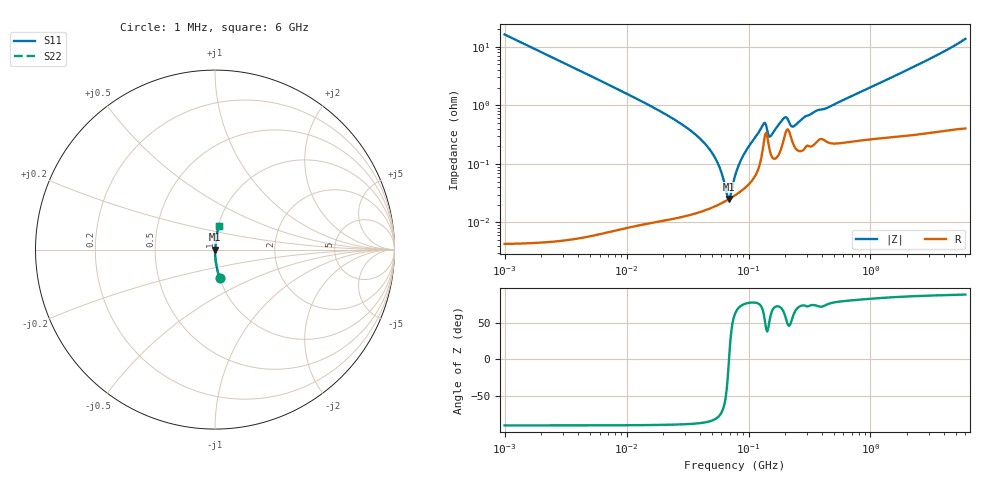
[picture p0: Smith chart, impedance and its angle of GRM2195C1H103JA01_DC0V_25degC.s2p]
!Murata Part Number: GRM2195C1H103JA01
!These Parameters are Measured in Series Mode Connection
!  o--ll--o
!Port1  Port2
!  o------o
!Operation Temp=25[degC], DC Bias Voltage=0[V]
!Freq. Start=1[MHz] Stop=6[GHz], 401[Steps]
!Data Generated on Jan 10, 2017
# Hz S RI R 50
!Freq.(Hz) S11(Real) S11(Imag) S21(Real) S21(Imag) S12(Real) S12(Imag) S22(Real) S22(Imag)
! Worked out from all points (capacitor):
!   401 points, 1 MHz to 6 GHz, reference 50 ohm
!   read as one part in series: C = 9.85 nF near 1.044 MHz
!   lowest |Z| = 25.2 mohm at 69.48 MHz (marker M1)
!   series resonance near 69.18 MHz, so ESL is about 540 pH
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1000000  0.0255 -0.1575  0.9745 0.1575  0.9745 0.1575  0.0255 -0.1575
4293785  0.00146 -0.0374  0.9985 0.0374  0.9985 0.0374  0.00146 -0.0374
1.843659e7  0.00017 -0.00813  0.9998 0.00813  0.9998 0.00813  0.00017 -0.00813
3.245342e7  0.000148 -0.00389  0.9999 0.00389  0.9999 0.00389  0.000148 -0.00389
4.596069e7  0.00017 -0.00198  0.9998 0.00198  0.9998 0.00198  0.00017 -0.00198
5.589783e7  0.000199 -0.00101  0.9998 0.00101  0.9998 0.00101  0.000199 -0.00101
6.097846e7  0.000217 -0.000599  0.9998 0.000599  0.9998 0.000599  0.000217 -0.000599
6.652088e7  0.000239 -0.000186  0.9998 0.000186  0.9998 0.000186  0.000239 -0.000186
6.947823e7  0.000251 2.08e-05  0.9997 -2.08e-05  0.9997 -2.08e-05  0.000251 2.08e-05
7.256705e7  0.000265 0.000229  0.9997 -0.000229  0.9997 -0.000229  0.000265 0.000229
7.745967e7  0.00029 0.000546  0.9997 -0.000546  0.9997 -0.000546  0.00029 0.000546
8.268215e7  0.000318 0.00087  0.9997 -0.00087  0.9997 -0.00087  0.000318 0.00087
9.019724e7  0.000366 0.00132  0.9996 -0.00132  0.9996 -0.00132  0.000366 0.00132
1.305463e8  0.00173 0.0042  0.9983 -0.0042  0.9983 -0.0042  0.00173 0.0042
1.363501e8  0.00309 0.00395  0.9969 -0.00395  0.9969 -0.00395  0.00309 0.00395
1.455431e8  0.00224 0.00212  0.9978 -0.00212  0.9978 -0.00212  0.00224 0.00212
1.520136e8  0.00148 0.00259  0.9985 -0.00259  0.9985 -0.00259  0.00148 0.00259
1.973453e8  0.00294 0.00539  0.9971 -0.00539  0.9971 -0.00539  0.00294 0.00539
2.348496e8  0.00209 0.00383  0.9979 -0.00383  0.9979 -0.00383  0.00209 0.00383
3.325952e8  0.00206 0.00702  0.9979 -0.00702  0.9979 -0.00702  0.00206 0.00702
1.428092e9  0.00361 0.0283  0.9964 -0.0283  0.9964 -0.0283  0.00361 0.0283
6e9  0.022 0.1327  0.978 -0.1327  0.978 -0.1327  0.022 0.1327
